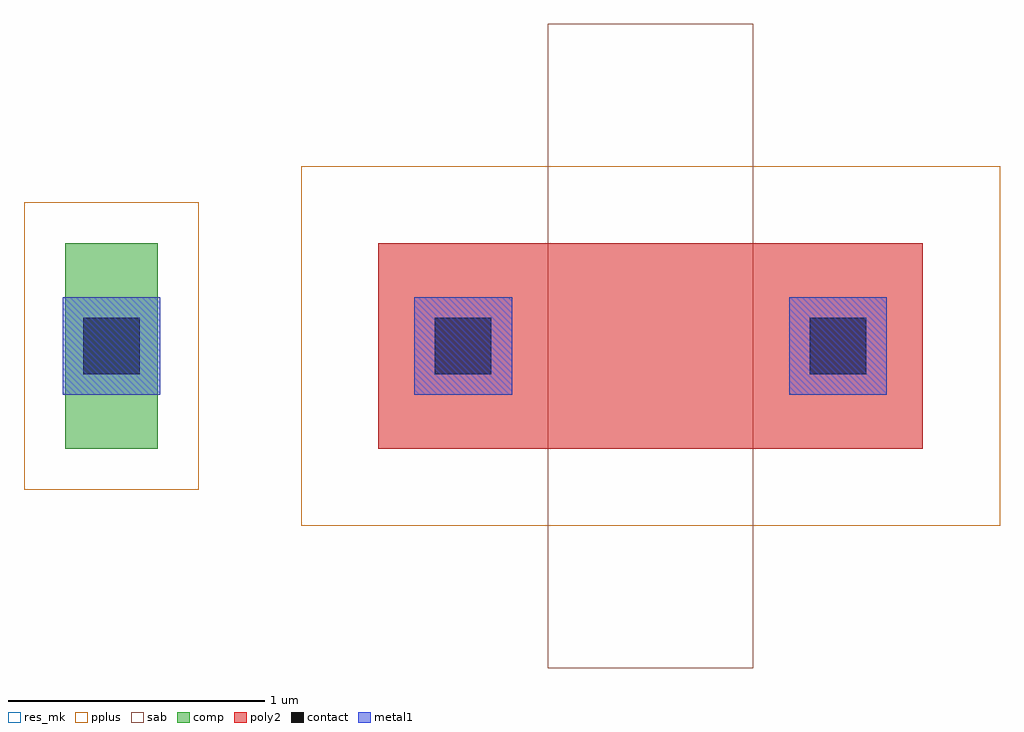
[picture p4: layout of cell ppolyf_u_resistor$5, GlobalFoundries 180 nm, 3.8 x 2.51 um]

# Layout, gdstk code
import gdstk
lib = gdstk.Library(unit=1e-6, precision=5e-09)
def R(c, l, rs):  # rectangles x0, y0, x1, y1
    for r in rs: c.add(gdstk.rectangle(r[:2], r[2:], *l))
comp = (22, 0)
poly2 = (30, 0)
pplus = (31, 0)
contact = (33, 0)
metal1 = (34, 0)
sab = (49, 0)
res_mk = (110, 5)

ppolyf_u_resistor_5 = lib.new_cell('ppolyf_u_resistor$5')
R(ppolyf_u_resistor_5, comp, [(-1.88,0,-1.52,0.8)])
R(ppolyf_u_resistor_5, poly2, [(-0.66,0,1.46,0.8)])
R(ppolyf_u_resistor_5, pplus, [(-0.96,-0.3,1.76,1.1), (-2.04,-0.16,-1.36,0.96)])
R(ppolyf_u_resistor_5, contact, [(-1.81,0.29,-1.59,0.51), (-0.44,0.29,-0.22,0.51), (1.02,0.29,1.24,0.51)])
R(ppolyf_u_resistor_5, metal1, [(-1.89,0.21,-1.51,0.59), (-0.52,0.21,-0.14,0.59), (0.94,0.21,1.32,0.59)])
R(ppolyf_u_resistor_5, sab, [(0,-0.855,0.8,1.655)])
R(ppolyf_u_resistor_5, res_mk, [(0,0,0.8,0.8)])

lib.write_gds('ppolyf_u_resistor_5.gds')
